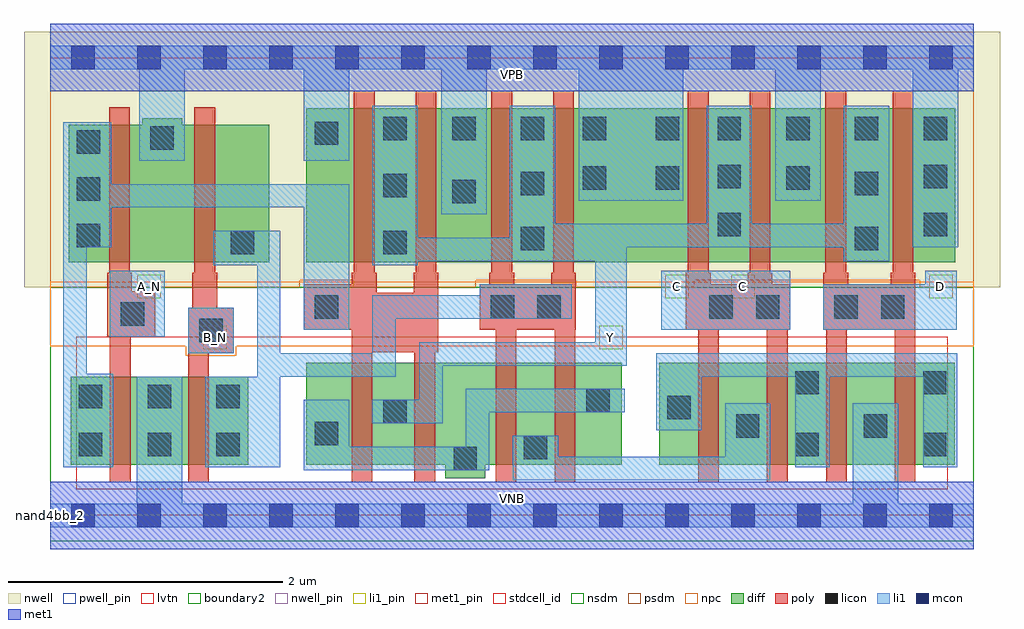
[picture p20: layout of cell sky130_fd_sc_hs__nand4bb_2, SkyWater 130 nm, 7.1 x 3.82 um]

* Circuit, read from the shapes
.subckt sky130_fd_sc_hs__nand4bb_2 A_N B_N C D VGND VNB VPB VPWR Y
XM1 VGND A_N n1 VNB sky130_fd_pr__nfet_01v8_lvt w=0.64 l=0.15
XM2 n2 B_N VGND VNB sky130_fd_pr__nfet_01v8_lvt w=0.64 l=0.15
XM3 Y n1 n3 VNB sky130_fd_pr__nfet_01v8_lvt w=0.74 l=0.15 m=2
XM4 n4 n2 n3 VNB sky130_fd_pr__nfet_01v8_lvt w=0.74 l=0.15 m=2
XM5 n4 C n5 VNB sky130_fd_pr__nfet_01v8_lvt w=0.74 l=0.15 m=2
XM6 VGND D n5 VNB sky130_fd_pr__nfet_01v8_lvt w=0.74 l=0.15 m=2
XM7 VPWR A_N n1 VPB sky130_fd_pr__pfet_01v8 w=1 l=0.15
XM8 n2 B_N VPWR VPB sky130_fd_pr__pfet_01v8 w=1 l=0.15
XM9 Y n1 VPWR VPB sky130_fd_pr__pfet_01v8 w=1.12 l=0.15 m=2
XM10 Y n2 VPWR VPB sky130_fd_pr__pfet_01v8 w=1.12 l=0.15 m=2
XM11 Y C VPWR VPB sky130_fd_pr__pfet_01v8 w=1.12 l=0.15 m=2
XM12 Y D VPWR VPB sky130_fd_pr__pfet_01v8 w=1.12 l=0.15 m=2
.ends

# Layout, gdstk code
import gdstk
lib = gdstk.Library(unit=1e-6, precision=1e-09)
def R(c, l, rs):  # rectangles x0, y0, x1, y1
    for r in rs: c.add(gdstk.rectangle(r[:2], r[2:], *l))
def A(c, l, x, y, w, h, nx, ny, dx, dy):  # array of equal rectangles
    R(c, l, [(x+i*dx, y+j*dy, x+i*dx+w, y+j*dy+h) for i in range(nx) for j in range(ny)])
def P(c, l, *ps):  # polygons
    for p in ps: c.add(gdstk.Polygon(p, *l))
nwell_pin = (64, 16)
nwell = (64, 20)
diff = (65, 20)
poly = (66, 20)
licon = (66, 44)
li1_pin = (67, 16)
li1 = (67, 20)
mcon = (67, 44)
met1_pin = (68, 16)
met1 = (68, 20)
stdcell_id = (81, 4)
nsdm = (93, 44)
psdm = (94, 20)
npc = (95, 20)
pwell_pin = (122, 16)
lvtn = (125, 44)
boundary2 = (236, 0)

sky130_fd_sc_hs__nand4bb = lib.new_cell('sky130_fd_sc_hs__nand4bb_2')
R(sky130_fd_sc_hs__nand4bb, nwell_pin, [(0,3.085,6.72,3.33)])
R(sky130_fd_sc_hs__nand4bb, nwell, [(-0.19,1.66,6.91,3.52)])
R(sky130_fd_sc_hs__nand4bb, diff, [(0.15,0.37,1.44,1.01), (4.43,0.37,6.58,1.11), (1.865,1.84,6.585,2.96)])
P(sky130_fd_sc_hs__nand4bb, diff, [(1.595,2.84),(0.96,2.84),(0.96,2.89),(0.67,2.89),(0.67,2.84),(0.135,2.84),(0.135,1.84),(1.595,1.84)],
  [(4.16,1.11),(1.865,1.11),(1.865,0.37),(2.875,0.37),(2.875,0.27),(3.165,0.27),(3.165,0.37),(4.16,0.37)])
P(sky130_fd_sc_hs__nand4bb, poly, [(2.825,1.765),(2.81,1.765),(2.81,3.09),(2.66,3.09),(2.66,1.765),(2.645,1.765),(2.645,1.62),(2.375,1.62),(2.375,1.765),(2.36,1.765),(2.36,3.09),(2.21,3.09),(2.21,1.765),(2.195,1.765),(2.195,1.68),(1.845,1.68),(1.845,1.35),(2.195,1.35),(2.195,0.24),(2.345,0.24),(2.345,1.185),(2.65,1.185),(2.65,0.24),(2.8,0.24),(2.8,1.185),(2.825,1.185)],
  [(0.765,1.63),(0.595,1.63),(0.595,1.765),(0.58,1.765),(0.58,2.97),(0.43,2.97),(0.43,1.765),(0.415,1.765),(0.415,1.3),(0.435,1.3),(0.435,0.24),(0.585,0.24),(0.585,1.3),(0.765,1.3)],
  [(1.335,1.51),(1.215,1.51),(1.215,1.765),(1.2,1.765),(1.2,2.97),(1.05,2.97),(1.05,1.765),(1.035,1.765),(1.035,1.51),(1.005,1.51),(1.005,0.24),(1.155,0.24),(1.155,1.18),(1.335,1.18)],
  [(3.825,1.765),(3.81,1.765),(3.81,3.09),(3.66,3.09),(3.66,1.765),(3.645,1.765),(3.645,1.68),(3.375,1.68),(3.375,1.765),(3.36,1.765),(3.36,3.09),(3.21,3.09),(3.21,1.765),(3.195,1.765),(3.195,1.68),(3.125,1.68),(3.125,1.35),(3.24,1.35),(3.24,0.24),(3.39,0.24),(3.39,1.35),(3.67,1.35),(3.67,0.24),(3.82,0.24),(3.82,1.35),(3.825,1.35)],
  [(5.385,1.68),(5.255,1.68),(5.255,1.765),(5.24,1.765),(5.24,3.09),(5.09,3.09),(5.09,1.765),(5.075,1.765),(5.075,1.68),(4.805,1.68),(4.805,1.765),(4.79,1.765),(4.79,3.09),(4.64,3.09),(4.64,1.765),(4.625,1.765),(4.625,1.35),(4.715,1.35),(4.715,0.24),(4.865,0.24),(4.865,1.35),(5.215,1.35),(5.215,0.24),(5.365,0.24),(5.365,1.35),(5.385,1.35)],
  [(6.295,1.765),(6.28,1.765),(6.28,3.09),(6.13,3.09),(6.13,1.765),(6.115,1.765),(6.115,1.68),(5.805,1.68),(5.805,1.765),(5.79,1.765),(5.79,3.09),(5.64,3.09),(5.64,1.765),(5.625,1.765),(5.625,1.35),(5.645,1.35),(5.645,0.24),(5.795,0.24),(5.795,1.35),(6.145,1.35),(6.145,0.24),(6.295,0.24)])
A(sky130_fd_sc_hs__nand4bb, licon, 0.21, 0.43, 0.17, 0.17, 3, 2, 0.5, 0.35)
A(sky130_fd_sc_hs__nand4bb, licon, 0.195, 1.95, 0.17, 0.17, 1, 3, 0, 0.34)
A(sky130_fd_sc_hs__nand4bb, licon, 2.425, 2.73, 0.17, 0.17, 3, 1, 0.5, 0)
A(sky130_fd_sc_hs__nand4bb, licon, 4.855, 2.73, 0.17, 0.17, 4, 1, 0.5, 0)
R(sky130_fd_sc_hs__nand4bb, licon, [(2.935,0.33,3.105,0.5), (3.445,0.41,3.615,0.58), (5.42,0.43,5.59,0.6), (6.35,0.43,6.52,0.6), (1.925,0.51,2.095,0.68), (4.99,0.565,5.16,0.735), (5.92,0.565,6.09,0.735), (2.425,0.67,2.595,0.84), (4.49,0.7,4.66,0.87), (3.9,0.75,4.07,0.92), (5.42,0.88,5.59,1.05), (6.35,0.88,6.52,1.05), (1.085,1.26,1.255,1.43), (0.515,1.38,0.685,1.55), (1.925,1.43,2.095,1.6), (3.205,1.43,3.375,1.6), (3.545,1.43,3.715,1.6), (4.795,1.43,4.965,1.6), (5.135,1.43,5.305,1.6), (5.705,1.43,5.875,1.6), (6.045,1.43,6.215,1.6), (1.315,1.9,1.485,2.07), (2.425,1.9,2.595,2.07), (3.425,1.93,3.595,2.1), (5.855,1.93,6.025,2.1), (4.855,2.03,5.025,2.2), (6.355,2.03,6.525,2.2), (2.925,2.27,3.095,2.44), (2.425,2.315,2.595,2.485), (3.425,2.33,3.595,2.5), (5.855,2.33,6.025,2.5), (3.875,2.37,4.045,2.54), (4.405,2.37,4.575,2.54), (5.355,2.37,5.525,2.54), (4.855,2.38,5.025,2.55), (6.355,2.38,6.525,2.55), (0.73,2.66,0.9,2.83), (1.925,2.695,2.095,2.865), (3.875,2.73,4.045,2.9), (4.405,2.73,4.575,2.9)])
R(sky130_fd_sc_hs__nand4bb, li1_pin, [(1.115,1.21,1.285,1.38), (3.995,1.21,4.165,1.38), (0.635,1.58,0.805,1.75), (4.475,1.58,4.645,1.75), (4.955,1.58,5.125,1.75), (6.395,1.58,6.565,1.75)])
R(sky130_fd_sc_hs__nand4bb, li1, [(1.005,1.18,1.335,1.51), (0.435,1.3,0.835,1.78), (4.445,1.35,5.385,1.78)])
P(sky130_fd_sc_hs__nand4bb, li1, [(0,-0.085),(0,0.085),(0.63,0.085),(0.63,1.01),(0.96,1.01),(0.96,0.085),(5.84,0.085),(5.84,0.815),(6.17,0.815),(6.17,0.085),(6.72,0.085),(6.72,-0.085)],
  [(0,3.245),(0,3.415),(6.72,3.415),(6.72,3.245),(6.605,3.245),(6.605,1.95),(6.275,1.95),(6.275,3.245),(5.605,3.245),(5.605,2.29),(5.275,2.29),(5.275,3.245),(4.605,3.245),(4.605,2.29),(3.845,2.29),(3.845,3.245),(3.175,3.245),(3.175,2.19),(2.845,2.19),(2.845,3.245),(2.175,3.245),(2.175,2.58),(1.845,2.58),(1.845,3.245),(0.98,3.245),(0.98,2.58),(0.65,2.58),(0.65,3.245)],
  [(2.685,1.26),(3.965,1.26),(3.965,1.85),(2.675,1.85),(2.675,1.82),(2.345,1.82),(2.345,2.98),(2.675,2.98),(2.675,2.02),(3.345,2.02),(3.345,2.98),(3.675,2.98),(3.675,2.12),(4.775,2.12),(4.775,2.98),(5.105,2.98),(5.105,2.12),(5.775,2.12),(5.775,2.98),(6.105,2.98),(6.105,1.85),(5.775,1.85),(5.775,1.95),(4.195,1.95),(4.195,1.09),(2.855,1.09),(2.855,0.67),(2.345,0.67),(2.345,0.84),(2.685,0.84)],
  [(5.625,1.35),(5.625,1.68),(6.365,1.68),(6.365,1.78),(6.595,1.78),(6.595,1.35)],
  [(1.13,0.35),(1.13,1.01),(1.505,1.01),(1.505,1.82),(1.185,1.82),(1.185,2.07),(1.675,2.07),(1.675,1.18),(2.345,1.18),(2.345,1.6),(3.125,1.6),(3.125,1.68),(3.795,1.68),(3.795,1.43),(2.515,1.43),(2.515,1.01),(1.675,1.01),(1.675,0.35)],
  [(0.095,2.86),(0.445,2.86),(0.445,2.41),(2.175,2.41),(2.175,1.35),(1.845,1.35),(1.845,2.24),(0.445,2.24),(0.445,1.95),(0.265,1.95),(0.265,1.03),(0.46,1.03),(0.46,0.35),(0.095,0.35)],
  [(3.025,0.5),(3.025,0.92),(4.18,0.92),(4.18,0.75),(3.195,0.75),(3.195,0.33),(1.845,0.33),(1.845,0.84),(2.175,0.84),(2.175,0.5)],
  [(4.91,0.425),(4.91,0.815),(5.24,0.815),(5.24,0.255),(3.365,0.255),(3.365,0.58),(3.695,0.58),(3.695,0.425)],
  [(5.42,0.35),(5.42,1.01),(4.74,1.01),(4.74,0.62),(4.41,0.62),(4.41,1.18),(6.6,1.18),(6.6,0.35),(6.35,0.35),(6.35,1.01),(5.67,1.01),(5.67,0.35)])
A(sky130_fd_sc_hs__nand4bb, mcon, 0.155, -0.085, 0.17, 0.17, 14, 2, 0.48, 3.33)
R(sky130_fd_sc_hs__nand4bb, met1_pin, [(0,0,6.72,0.245), (0,3.085,6.72,3.33)])
R(sky130_fd_sc_hs__nand4bb, met1, [(0,-0.245,6.72,0.245), (0,3.085,6.72,3.575)])
R(sky130_fd_sc_hs__nand4bb, stdcell_id, [(0,0,6.72,3.33)])
R(sky130_fd_sc_hs__nand4bb, nsdm, [(0,-0.19,6.72,1.66)])
P(sky130_fd_sc_hs__nand4bb, psdm, [(6.72,3.52),(0,3.52),(0,1.66),(1.815,1.66),(1.815,1.71),(2.205,1.71),(2.205,1.66),(3.095,1.66),(3.095,1.71),(3.825,1.71),(3.825,1.66),(4.685,1.66),(4.685,1.71),(6.325,1.71),(6.325,1.66),(6.72,1.66)])
P(sky130_fd_sc_hs__nand4bb, npc, [(6.72,1.7),(0,1.7),(0,1.23),(0.985,1.23),(0.985,1.16),(1.355,1.16),(1.355,1.23),(6.72,1.23)])
R(sky130_fd_sc_hs__nand4bb, pwell_pin, [(0,0,6.72,0.245)])
R(sky130_fd_sc_hs__nand4bb, lvtn, [(0.19,0.19,6.53,1.3)])
R(sky130_fd_sc_hs__nand4bb, boundary2, [(0,0,6.72,3.33)])
sky130_fd_sc_hs__nand4bb.add(gdstk.Label('nand4bb_2', (0,0), layer=83, texttype=44))
sky130_fd_sc_hs__nand4bb.add(gdstk.Label('VNB', (3.36,0.123), layer=64, texttype=59))
sky130_fd_sc_hs__nand4bb.add(gdstk.Label('VPB', (3.36,3.208), layer=64, texttype=5))
sky130_fd_sc_hs__nand4bb.add(gdstk.Label('VPWR', (3.36,3.208), layer=68, texttype=5))
sky130_fd_sc_hs__nand4bb.add(gdstk.Label('VGND', (3.36,0.123), layer=68, texttype=5))
sky130_fd_sc_hs__nand4bb.add(gdstk.Label('A_N', (0.72,1.665), layer=67, texttype=5))
sky130_fd_sc_hs__nand4bb.add(gdstk.Label('Y', (4.08,1.295), layer=67, texttype=5))
sky130_fd_sc_hs__nand4bb.add(gdstk.Label('C', (4.56,1.665), layer=67, texttype=5))
sky130_fd_sc_hs__nand4bb.add(gdstk.Label('C', (5.04,1.665), layer=67, texttype=5))
sky130_fd_sc_hs__nand4bb.add(gdstk.Label('D', (6.48,1.665), layer=67, texttype=5))
sky130_fd_sc_hs__nand4bb.add(gdstk.Label('B_N', (1.2,1.295), layer=67, texttype=5))

lib.write_gds('sky130_fd_sc_hs__nand4bb_2.gds')
